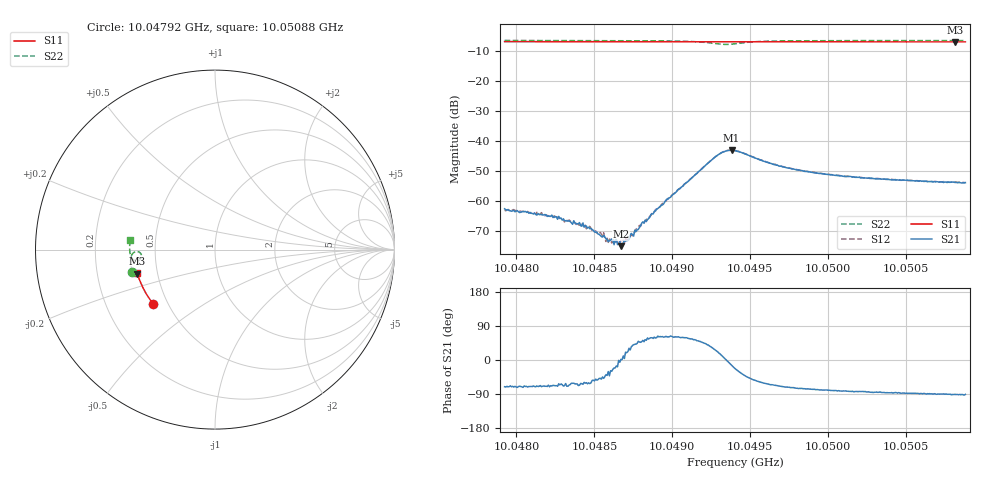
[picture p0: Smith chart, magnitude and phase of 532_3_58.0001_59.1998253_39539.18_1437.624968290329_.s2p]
#  HZ  S  RI  R  50.00
! Rohde & Schwarz Vector Network Analyzer
! Rohde-Schwarz,ZNB20-2Port,1311601062101988,3.16
! Created: UTC 3/21/2024, 1:14:09 AM
! freq[Hz]  re:S11  im:S11  re:S21  im:S21  re:S12  im:S12  re:S22  im:S22
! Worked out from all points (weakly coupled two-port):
!   401 points, 10.04792 GHz to 10.05088 GHz, reference 50 ohm
!   highest |S21| = -43.02 dB at 10.04938 GHz (marker M1); lowest = -75.0 dB at 10.04867 GHz (marker M2)
!   lowest |S11| = -6.9 dB at 10.05082 GHz (marker M3), VSWR 2.65, Z = 19.2 - j6.48 ohm
!   |S11| at or under -10 dB: nowhere
!   |S22| runs from -7.7 to -6.4 dB; largest |S21 - S12| = 0.00049
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1.0047924e10  -0.3446 -0.3007  0.000249 -0.000701  0.000273 -0.00065  -0.4618 -0.1235
1.0048146e10  -0.3538 -0.2892  0.00021 -0.000556  0.000254 -0.000556  -0.465 -0.1083
1.0048242e10  -0.3575 -0.2841  0.000204 -0.000493  0.000275 -0.000497  -0.4663 -0.1016
1.004842e10  -0.3644 -0.2747  0.000176 -0.000338  0.000227 -0.000339  -0.4682 -0.0888
1.0048479e10  -0.3667 -0.2715  0.000175 -0.000305  0.000215 -0.000275  -0.4689 -0.0842
1.0048545e10  -0.3692 -0.2678  0.000163 -0.000197  0.000195 -0.000206  -0.4692 -0.079
1.0048582e10  -0.3706 -0.2657  0.000175 -0.000151  0.000203 -0.000128  -0.4696 -0.0762
1.0048671e10  -0.3738 -0.2609  0.000177 5.78e-06  0.00022 1.7e-05  -0.4699 -0.0692
1.0048701e10  -0.3748 -0.2594  0.0002 7.56e-05  0.000228 5.68e-05  -0.4702 -0.0667
1.004873e10  -0.3758 -0.2576  0.000242 0.00012  0.00022 0.00013  -0.47 -0.0641
1.0048775e10  -0.3776 -0.2553  0.000239 0.000227  0.000248 0.000253  -0.4701 -0.0602
1.0048812e10  -0.3787 -0.2531  0.00028 0.000354  0.000239 0.000364  -0.4699 -0.0569
1.0048915e10  -0.3824 -0.2472  0.000378 0.000684  0.000329 0.000715  -0.4688 -0.0467
1.004927e10  -0.3936 -0.2268  0.00466 0.00253  0.00451 0.00281  -0.427 -0.0121
1.0049329e10  -0.395 -0.2235  0.00658 0.000867  0.00654 0.00124  -0.4107 -0.0273
1.0049381e10  -0.3968 -0.2207  0.00685 -0.00172  0.00697 -0.00126  -0.4117 -0.0487
1.0049403e10  -0.3973 -0.2196  0.00639 -0.00267  0.0066 -0.00225  -0.4175 -0.0559
1.0049655e10  -0.4051 -0.2052  0.00162 -0.00373  0.00188 -0.00365  -0.4658 -0.0436
1.0049899e10  -0.4118 -0.1902  0.000661 -0.00294  0.000847 -0.00292  -0.4737 -0.0184
1.0050394e10  -0.4236 -0.1602  0.000142 -0.00229  0.000282 -0.00228  -0.4754 0.0209
1.0050815e10  -0.4319 -0.134  -2.49e-05 -0.00204  9.88e-05 -0.00209  -0.4732 0.0506
1.0050882e10  -0.4331 -0.1298  -3e-05 -0.00203  6.91e-05 -0.00203  -0.4726 0.0552
